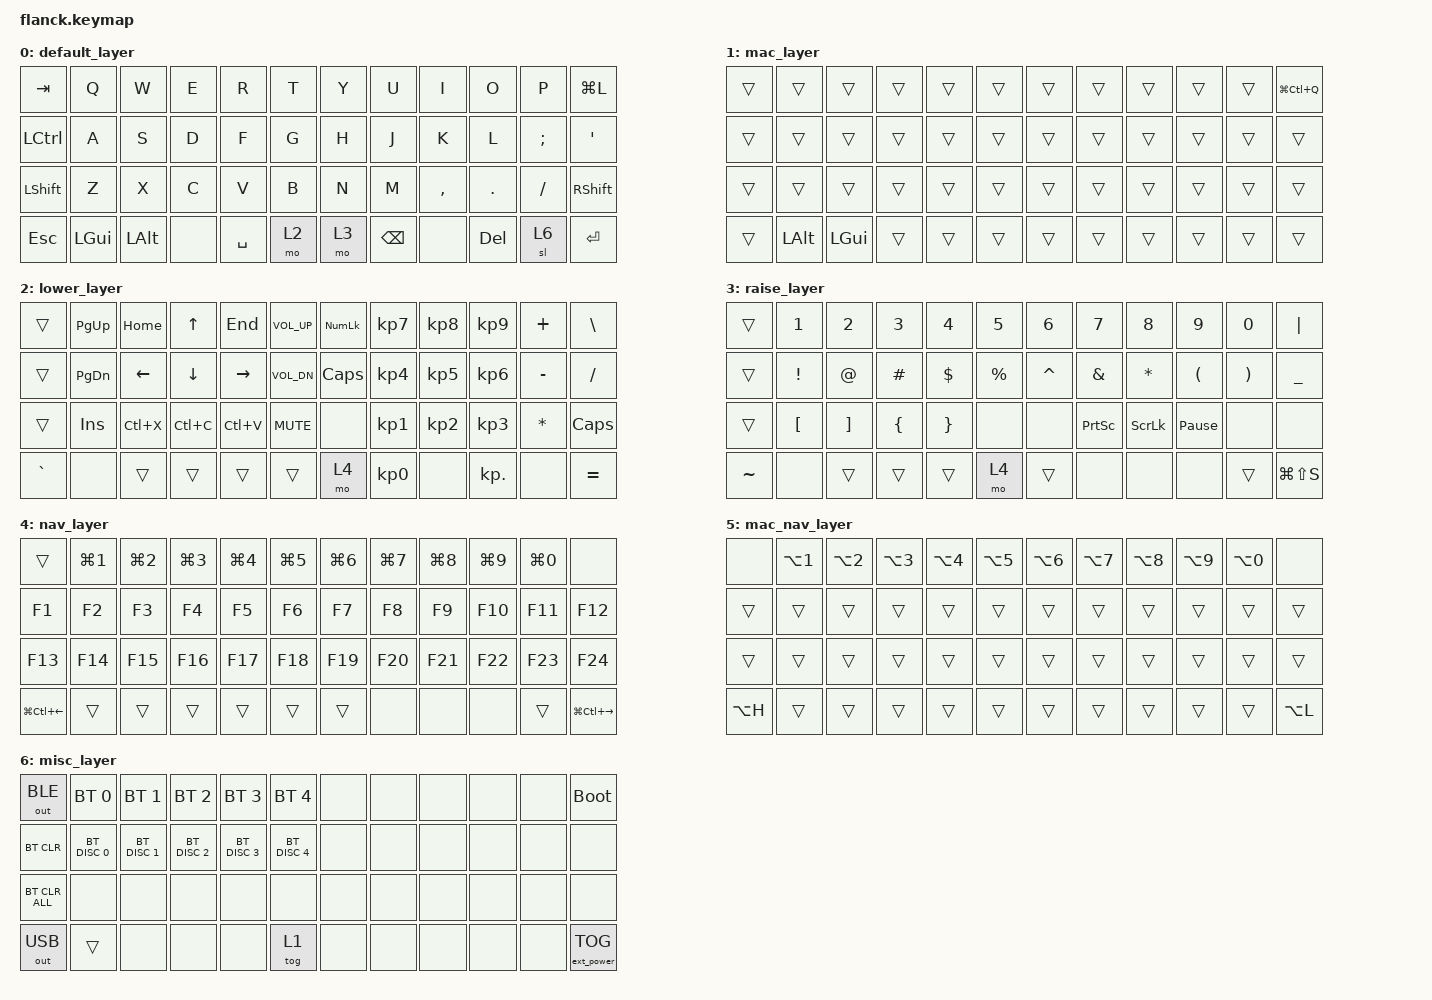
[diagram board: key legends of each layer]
#include <behaviors.dtsi>
#include <dt-bindings/zmk/keys.h>
#include <dt-bindings/zmk/bt.h>
#include <dt-bindings/zmk/outputs.h>
#include <dt-bindings/zmk/ext_power.h>

&lt {
    tapping-term-ms = <200>;
};

/ {
    conditional_layers {
        compatible = "zmk,conditional-layers";
        mac_nav {
            if-layers = <1 4>;
            then-layer = <5>;
        };
    };

    keymap {
        compatible = "zmk,keymap";

        default_layer {
            bindings = <
   &kp TAB      &kp Q         &kp W         &kp E         &kp R         &kp T         &kp Y         &kp U         &kp I         &kp O         &kp P         &kp LG(L)
   &kp LCTRL    &kp A         &kp S         &kp D         &kp F         &kp G         &kp H         &kp J         &kp K         &kp L         &kp SEMI      &kp SINGLE_QUOTE
   &kp LSHIFT   &kp Z         &kp X         &kp C         &kp V         &kp B         &kp N         &kp M         &kp COMMA     &kp DOT       &kp SLASH     &kp RSHIFT
   &kp ESC      &kp LGUI      &kp LALT      &none         &kp SPACE     &mo 2         &mo 3         &kp BSPC      &none         &kp DEL       &sl 6         &kp RETURN
            >;
        };

        mac_layer {
            bindings = <
   &trans       &trans        &trans        &trans        &trans        &trans        &trans        &trans        &trans        &trans        &trans        &kp LG(LC(Q))
   &trans       &trans        &trans        &trans        &trans        &trans        &trans        &trans        &trans        &trans        &trans        &trans
   &trans       &trans        &trans        &trans        &trans        &trans        &trans        &trans        &trans        &trans        &trans        &trans
   &trans       &kp LALT      &kp LGUI      &trans        &trans        &trans        &trans        &trans        &trans        &trans        &trans        &trans
            >;
        };

        lower_layer {
            bindings = <
   &trans       &kp PG_UP     &kp HOME      &kp UP        &kp END       &kp C_VOL_UP  &kp KP_NUMLOCK  &kp KP_N7     &kp KP_N8      &kp KP_N9      &kp PLUS      &kp BSLH
   &trans       &kp PG_DN     &kp LEFT      &kp DOWN      &kp RIGHT     &kp C_VOL_DN  &kp CAPS        &kp KP_N4     &kp KP_N5      &kp KP_N6      &kp MINUS     &kp SLASH
   &trans       &kp INSERT    &kp LC(X)     &kp LC(C)     &kp LC(V)     &kp C_MUTE    &none           &kp KP_N1     &kp KP_N2      &kp KP_N3      &kp STAR      &kp CAPS
   &kp GRAVE    &none         &trans        &trans        &trans        &trans        &mo 4           &kp KP_N0     &none          &kp KP_DOT     &none        &kp EQUAL
            >;
        };

        raise_layer {
            bindings = <
   &trans       &kp N1        &kp N2        &kp N3        &kp N4        &kp N5        &kp N6        &kp N7        &kp N8        &kp N9           &kp N0        &kp PIPE
   &trans       &kp EXCL      &kp AT        &kp HASH      &kp DOLLAR    &kp PERCENT   &kp CARET     &kp AMPS      &kp STAR      &kp LPAR         &kp RPAR      &kp UNDER
   &trans       &kp LBKT      &kp RBKT      &kp LBRC      &kp RBRC      &none         &none         &kp PSCRN     &kp SLCK      &kp PAUSE_BREAK  &none         &none
   &kp TILDE    &none         &trans        &trans        &trans        &mo 4         &trans        &none         &none         &none            &trans        &kp LG(LS(S))
            >;
        };

        nav_layer {
            bindings = <
   &trans            &kp LG(N1)    &kp LG(N2)    &kp LG(N3)    &kp LG(N4)    &kp LG(N5)    &kp LG(N6)    &kp LG(N7)    &kp LG(N8)    &kp LG(N9)    &kp LG(N0)    &none
   &kp F1            &kp F2        &kp F3        &kp F4        &kp F5        &kp F6        &kp F7        &kp F8        &kp F9        &kp F10       &kp F11       &kp F12
   &kp F13           &kp F14       &kp F15       &kp F16       &kp F17       &kp F18       &kp F19       &kp F20       &kp F21       &kp F22       &kp F23       &kp F24
   &kp LG(LC(LEFT))  &trans        &trans        &trans        &trans        &trans        &trans        &none         &none         &none         &trans        &kp LG(LC(RIGHT))
            >;
        };

        mac_nav_layer {
            bindings = <
   &none        &kp LA(N1)    &kp LA(N2)    &kp LA(N3)    &kp LA(N4)    &kp LA(N5)    &kp LA(N6)    &kp LA(N7)    &kp LA(N8)    &kp LA(N9)    &kp LA(N0)    &none
   &trans       &trans        &trans        &trans        &trans        &trans        &trans        &trans        &trans        &trans        &trans        &trans
   &trans       &trans        &trans        &trans        &trans        &trans        &trans        &trans        &trans        &trans        &trans        &trans
   &kp LA(H)    &trans        &trans        &trans        &trans        &trans        &trans        &trans        &trans        &trans        &trans        &kp LA(L)
            >;
        };

        misc_layer {
            bindings = <
   &out OUT_BLE &bt BT_SEL 0  &bt BT_SEL 1  &bt BT_SEL 2  &bt BT_SEL 3  &bt BT_SEL 4  &none         &none         &none         &none         &none         &bootloader
   &bt BT_CLR   &bt BT_DISC 0 &bt BT_DISC 1 &bt BT_DISC 2 &bt BT_DISC 3 &bt BT_DISC 4 &none         &none         &none         &none         &none         &none
   &bt BT_CLR_ALL &none       &none         &none         &none         &none         &none         &none         &none         &none         &none         &none
   &out OUT_USB &trans        &none         &none         &none         &tog 1        &none         &none         &none         &none         &none         &ext_power EP_TOG
            >;
        };
    };
};
